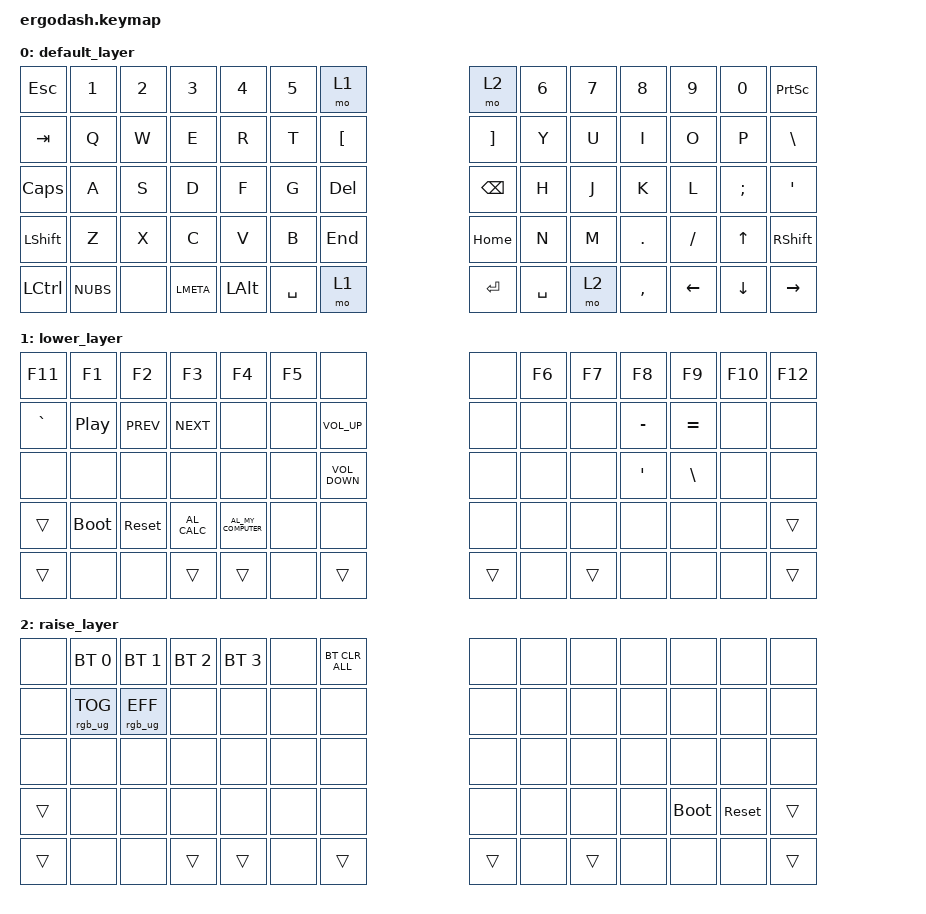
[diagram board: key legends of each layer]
/*
 * Copyright (c) 2020 The ZMK Contributors
 *
 * SPDX-License-Identifier: MIT
 */

#include <behaviors.dtsi>
#include <dt-bindings/zmk/bt.h>
#include <dt-bindings/zmk/keys.h>
#include <dt-bindings/zmk/rgb.h>

#define DEFAULT 0
#define LOWER   1
#define RAISE   2

/ {
    combos {
        compatible = "zmk,combos";

        ml1 {
            bindings = <&kp ENTER>;
            key-positions = <48 62>;
            layers = <0>;
        };

        HOME_combo {
            bindings = <&kp HOME>;
            key-positions = <67 68>;
        };

        END_Combo {
            bindings = <&kp END>;
            key-positions = <69 68>;
        };

        AbreCorchete {
            bindings = <&kp SQT>;
            key-positions = <38 39>;
        };

        CierreCorchete {
            bindings = <&kp BACKSLASH>;
            key-positions = <52 53>;
        };

        Interrogacion {
            bindings = <&kp MINUS>;
            key-positions = <25 24>;
        };

        Asterisco {
            bindings = <&kp KP_ASTERISK>;
            key-positions = <40 39>;
        };
    };

    keymap {
        compatible = "zmk,keymap";

        default_layer {
            /* QWERTY
 * .----------------------------------------------------------------------------------------------------------------------.
 * |  `   |   1  |   2  |   3  |   4  |   5  |  [   |                    |  ]   |   6  |   7  |   8  |   9  |   0  | PScr |
 * |------+------+------+------+------+------+------+--------------------+------+------+------+------+------+------+------|
 * | ESC  |   Q  |   W  |   E  |   R  |   T  |  -   |                    |  =   |   Y  |   U  |   I  |   O  |   P  |  \   |
 * |------+------+------+------+------+------+------+--------------------+------+------+------+------+------+------+------|
 * | Tab  |   A  |   S  |   D  |   F  |   G  | Del  |                    | Bksp |   H  |   J  |   K  |   L  |   ;  |  '   |
 * |------+------+------+------+------+------+---------------------------+------+------+------+------+------+------+------|
 * | Shift|   Z  |   X  |   C  |   V  |   B  | End  |                    | Home |   N  |   M  |   ,  |   .  |   /  | Shift|
 * |-------------+------+------+------+------+------+------+------+------+------+------+------+------+------+-------------|
 * | Ctrl |      | PGDN | Win  |||||||| Alt  | Space| Lower|||||||| Raise| Enter| RAlt ||||||||      | PGUP | Ins  | RCtrl|
 * .----------------------------------------------------------------------------------------------------------------------.
 */

            bindings = <
&kp ESCAPE  &kp N1    &kp N2  &kp N3     &kp N4    &kp N5  &mo 1                                 &mo 2              &kp N6  &kp N7  &kp N8     &kp N9          &kp N0        &kp PSCRN
&kp TAB     &kp Q     &kp W   &kp E      &kp R     &kp T   &kp LEFT_BRACKET                      &kp RIGHT_BRACKET  &kp Y   &kp U   &kp I      &kp O           &kp P         &kp BSLH
&kp CAPS    &kp A     &kp S   &kp D      &kp F     &kp G   &kp DEL                               &kp BSPC           &kp H   &kp J   &kp K      &kp L           &kp SEMI      &kp SQT
&kp LSHFT   &kp Z     &kp X   &kp C      &kp V     &kp B                     &kp END  &kp HOME                      &kp N   &kp M   &kp DOT    &kp SLASH       &kp UP_ARROW  &kp RSHFT
&kp LCTRL   &kp NUBS  &none   &kp LMETA  &kp LALT          &kp SPACE         &mo 1    &kp ENTER  &kp SPACE                  &mo 2   &kp COMMA  &kp LEFT_ARROW  &kp DOWN      &kp RIGHT
            >;
        };

        lower_layer {
            /* .----------------------------------------------------------------------------------------------------------------------.
 * |  F11 |  F1  |  F2  |  F3  |  F4  |  F5  |      |                    |      |  F6  |  F7  |  F8  |  F9  |  F10 |  F12 |
 * |------+------+------+------+------+------+------+--------------------+------+------+------+------+------+------+------|
 * |      |      |      |      |      |      |      |                    |      |      |      |      |      |      |      |
 * |------+------+------+------+------+------+------+--------------------+------+------+------+------+------+------+------|
 * |      |      |      |      |      |      |      |                    |      |      |      |      |      |      |      |
 * |------+------+------+------+------+------+---------------------------+------+------+------+------+------+------+------|
 * | Shift| Boot | Reset|      |      |      |      |                    |      |      |      |      |      |      | Shift|
 * |-------------+------+------+------+------+------+------+------+------+------+------+------+------+------+-------------|
 * | Ctlr |      |      |  Win |||||||| Alt  |      | Lower|||||||| Raise|      | RAlt ||||||||      |      |      | RCtrl|
 * .----------------------------------------------------------------------------------------------------------------------.
 */ /* FIXME boot and reset are not yet locale aware */
            bindings = <
&kp F11    &kp F1            &kp F2      &kp F3         &kp F4                &kp F5  &none                              &none  &kp F6  &kp F7  &kp F8     &kp F9         &kp F10  &kp F12
&kp GRAVE  &kp C_PLAY_PAUSE  &kp C_PREV  &kp C_NEXT     &none                 &none   &kp C_VOLUME_UP                    &none  &none   &none   &kp MINUS  &kp EQUAL      &none    &none
&none      &none             &none       &none          &none                 &none   &kp C_VOLUME_DOWN                  &none  &none   &none   &kp APOS   &kp BACKSLASH  &none    &none
&trans     &bootloader       &sys_reset  &kp C_AL_CALC  &kp C_AL_MY_COMPUTER  &none                      &none   &none          &none   &none   &none      &none          &none    &trans
&trans     &none             &none       &trans         &trans                        &none              &trans  &trans  &none          &trans  &none      &none          &none    &trans
            >;
        };

        raise_layer {
            /* .----------------------------------------------------------------------------------------------------------------------.
 * |      | BT 0 | BT 1 | BT 2 | BT 3 |      | BTCL |                    |      |      |      |      |      |      |      |
 * |------+------+------+------+------+------+------+--------------------+------+------+------+------+------+------+------|
 * |      |      |      |      |      |      |      |                    |      |      |      |      |      |      |      |
 * |------+------+------+------+------+------+------+--------------------+------+------+------+------+------+------+------|
 * |      |      |      |      |      |      |      |                    |      |      |      |      |      |      |      |
 * |------+------+------+------+------+------+---------------------------+------+------+------+------+------+------+------|
 * | Shift|      |      |      |      |      |      |                    |      |      |      |      | Boot | Reset| Shift|
 * |-------------+------+------+------+------+------+------+------+------+------+------+------+------+------+-------------|
 * | Ctlr |      |      |  Win |||||||| Alt  |      | Lower|||||||| Raise|      | RAlt ||||||||      |      |      | RCtrl|
 * .----------------------------------------------------------------------------------------------------------------------.
 */ /* FIXME boot and reset are not yet locale aware */
            bindings = <
&none   &bt BT_SEL 0     &bt BT_SEL 1     &bt BT_SEL 2  &bt BT_SEL 3  &none  &bt BT_CLR_ALL                  &none  &none  &none   &none  &none        &none       &none
&none   &rgb_ug RGB_TOG  &rgb_ug RGB_EFF  &none         &none         &none  &none                           &none  &none  &none   &none  &none        &none       &none
&none   &none            &none            &none         &none         &none  &none                           &none  &none  &none   &none  &none        &none       &none
&trans  &none            &none            &none         &none         &none                  &none   &none          &none  &none   &none  &bootloader  &sys_reset  &trans
&trans  &none            &none            &trans        &trans               &none           &trans  &trans  &none         &trans  &none  &none        &none       &trans
            >;
        };
    };
};
